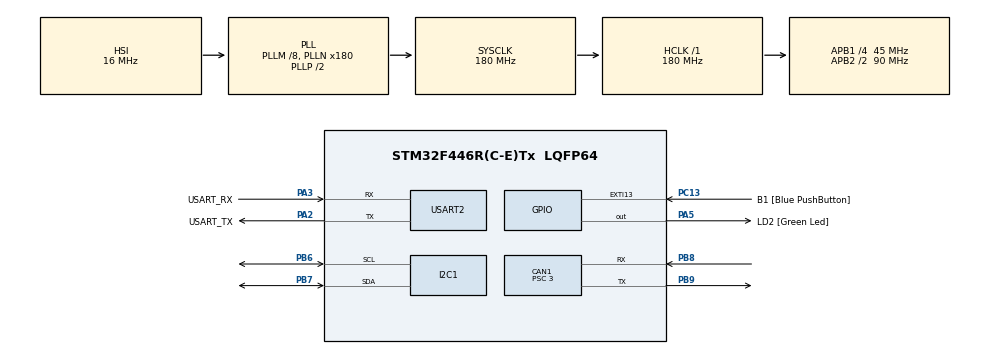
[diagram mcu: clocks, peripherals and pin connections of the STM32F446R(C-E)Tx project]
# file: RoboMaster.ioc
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CAN1.BS1=CAN_BS1_11TQ
CAN1.BS2=CAN_BS2_3TQ
CAN1.CalculateBaudRate=1000000
CAN1.CalculateTimeBit=1000
CAN1.CalculateTimeQuantum=66.66666666666666
CAN1.Prescaler=3
I2C1.OwnAddress=8
Mcu.Family=STM32F4
Mcu.Name=STM32F446R(C-E)Tx
Mcu.Package=LQFP64
NVIC.CAN1_RX0_IRQn=true\:0\:0\:false\:false\:true\:true\:true\:true
NVIC.PriorityGroup=NVIC_PRIORITYGROUP_0
PA13.GPIO_Label=TMS
PA13.Mode=Serial_Wire
PA13.Signal=SYS_JTMS-SWDIO
PA14.GPIO_Label=TCK
PA14.Mode=Serial_Wire
PA14.Signal=SYS_JTCK-SWCLK
PA2.GPIO_Label=USART_TX
PA2.Mode=Asynchronous
PA2.Signal=USART2_TX
PA3.GPIO_Label=USART_RX
PA3.Mode=Asynchronous
PA3.Signal=USART2_RX
PA5.GPIO_Label=LD2 [Green Led]
PA5.Signal=GPIO_Output
PB3.GPIO_Label=SWO
PB3.Signal=SYS_JTDO-SWO
PB6.Mode=I2C
PB6.Signal=I2C1_SCL
PB7.Mode=I2C
PB7.Signal=I2C1_SDA
PB8.Mode=CAN_Activate
PB8.Signal=CAN1_RX
PB9.Mode=CAN_Activate
PB9.Signal=CAN1_TX
PC13.GPIO_Label=B1 [Blue PushButton]
PC13.GPIO_ModeDefaultEXTI=GPIO_MODE_IT_FALLING
PC13.Signal=GPXTI13
PC14-OSC32_IN.Mode=LSE-External-Oscillator
PC14-OSC32_IN.Signal=RCC_OSC32_IN
PC15-OSC32_OUT.Mode=LSE-External-Oscillator
PC15-OSC32_OUT.Signal=RCC_OSC32_OUT
PH0-OSC_IN.Mode=HSE-External-Oscillator
PH0-OSC_IN.Signal=RCC_OSC_IN
PH1-OSC_OUT.Mode=HSE-External-Oscillator
PH1-OSC_OUT.Signal=RCC_OSC_OUT
ProjectManager.HeapSize=0x200
ProjectManager.StackSize=0x400
ProjectManager.TargetToolchain=STM32CubeIDE
RCC.48MHZClocksFreq_Value=84000000
RCC.AHBFreq_Value=180000000
RCC.APB1CLKDivider=RCC_HCLK_DIV4
RCC.APB1Freq_Value=45000000
RCC.APB1TimFreq_Value=90000000
RCC.APB2CLKDivider=RCC_HCLK_DIV2
RCC.APB2Freq_Value=90000000
RCC.APB2TimFreq_Value=180000000
RCC.CortexFreq_Value=180000000
RCC.FLatency-AdvancedSettings=FLASH_LATENCY_5
RCC.HCLKFreq_Value=180000000
RCC.HSE_VALUE=8000000
RCC.HSI_VALUE=16000000
RCC.PLLM=8
RCC.PLLN=180
RCC.SYSCLKFreq_VALUE=180000000
RCC.SYSCLKSource=RCC_SYSCLKSOURCE_PLLCLK
RCC.USBFreq_Value=180000000
RCC.VCOOutputFreq_Value=360000000
USART2.VirtualMode=VM_ASYNC
board=NUCLEO-F446RE

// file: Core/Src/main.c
/* USER CODE BEGIN Header */
/**
  ******************************************************************************
  * @file           : main.c
  * @brief          : Main program body
  ******************************************************************************
  * @attention
  *
  * Copyright (c) 2025 STMicroelectronics.
  * All rights reserved.
  *
  * This software is licensed under terms that can be found in the LICENSE file
  * in the root directory of this software component.
  * If no LICENSE file comes with this software, it is provided AS-IS.
  *
  ******************************************************************************
  */
/* USER CODE END Header */
#include "main.h"

/* USER CODE BEGIN Includes */
#include <stdio.h>
#include <stdlib.h>
#include <string.h>
/* USER CODE END Includes */

CAN_HandleTypeDef hcan1;

I2C_HandleTypeDef hi2c1;

UART_HandleTypeDef huart2;

void SystemClock_Config(void);
static void MX_GPIO_Init(void);
static void MX_USART2_UART_Init(void);
static void MX_CAN1_Init(void);
static void MX_I2C1_Init(void);
/* USER CODE BEGIN PFP */
void HAL_CAN_RxFifo0MsgPendingCallback(CAN_HandleTypeDef *hcan);
/* USER CODE END PFP */

/* USER CODE BEGIN 0 */
CAN_TxHeaderTypeDef TxHeader;
uint8_t TxData[8] = {};
uint8_t TxData2[8] = {};
uint32_t TxMailbox;
char i2c[256] = {};
float v1;
float v2;
float v3;
float v4;
char *part;
uint8_t count = 0;

CAN_RxHeaderTypeDef   RxHeader;
uint8_t RxData[8] = {};

typedef struct PID
{
	float p_gain;
	float i_gain;
	float d_gain;
	float delta_time;
	float err;
	float pre_err;
	float d_err;
	float i_err;
	float pid;
	int16_t rpm;
}PID;

int16_t pid_calculator(PID *pid, float value, int16_t rpm)
{
    pid->err  = value - pid->rpm;
    pid->i_err += pid->err * pid->delta_time;
    pid->d_err = (pid->err - pid->pre_err) / pid->delta_time;
    pid->pid  = pid->p_gain * pid->err + pid->i_gain * pid->i_err + pid->d_gain * pid->d_err;
    pid->pre_err = pid->err;

    int16_t out_current = (int16_t)pid->pid * 10000 / 13000;

	return out_current;
}

PID pid1 = {1.0, 0.0, 0.03, 0.02, 0, 0, 0, 0, 0, 0};
PID pid2 = {1.0, 0.0, 0.03, 0.02, 0, 0, 0, 0, 0, 0};
PID pid3 = {1.0, 0.0, 0.03, 0.02, 0, 0, 0, 0, 0, 0};
PID pid4 = {1.0, 0.0, 0.03, 0.02, 0, 0, 0, 0, 0, 0};

/* USER CODE END 0 */

int main(void)
{

  /* USER CODE BEGIN 1 */
	setbuf(stdout, NULL);
  /* USER CODE END 1 */

  /* MCU Configuration--------------------------------------------------------*/

  /* Reset of all peripherals, Initializes the Flash interface and the Systick. */
  HAL_Init();

  /* Configure the system clock */
  SystemClock_Config();

  /* Initialize all configured peripherals */
  MX_GPIO_Init();
  MX_USART2_UART_Init();
  MX_CAN1_Init();
  MX_I2C1_Init();
  /* USER CODE BEGIN 2 */
  HAL_CAN_Start(&hcan1);
  HAL_CAN_ActivateNotification(&hcan1, CAN_IT_RX_FIFO0_MSG_PENDING);
  /* USER CODE END 2 */

  /* Infinite loop */
  while (1)
  {

    /* USER CODE BEGIN 3 */
	    TxHeader.StdId = 0x200;
		TxHeader.RTR = CAN_RTR_DATA;
		TxHeader.IDE = CAN_ID_STD;
		TxHeader.DLC = 8;
		TxHeader.TransmitGlobalTime = DISABLE;

	    HAL_I2C_Slave_Receive(&hi2c1, (uint8_t*)i2c, 256, 1000);

	    part = strtok(i2c,",");
	    v1 = atof(part);
	    v1 = (v1 - 1) * -3000;

	    while(part != NULL)
	    {
	    	part = strtok(NULL,",");

	    	if(part != NULL)
	    	{
	    	    switch(count)
	    	    {
	    	    	case 0:
	    	    	v2 = atof(part);
	    	    	v2 = (v2 - 1) * 3000;
	    	    	count++;
	    	    	break;
	    	    	case 1:
	    	    	v3 = atof(part);
	    	    	v3 = (v3 - 1) * 13000;
	    	    	count++;
	    	    	break;
	    	    	case 2:
	    	    	v4 = atof(part);
	    	    	v4 = (v4 - 1) * 10000;
	    	    	count = 0;
	    	    	break;

	    	    }
	    	}
	    }

//	    printf("%lf", v1);
//	    printf(",");
//	    printf("%lf", v2);
//	    printf(",");
//	    printf("%lf", v3);
//	    printf(",");
//	    printf("%lf\r\n", v4);

	    int16_t w1 = pid_calculator(&pid1, v1, pid1.rpm);
	    int16_t w2 = pid_calculator(&pid2, v2, pid2.rpm);
	    int16_t m1 = pid_calculator(&pid3, v3, pid3.rpm);
	    int16_t m2 = v4;

	    TxData[0] = (w1>> 8) & 0xFF;//上位バイト
        TxData[1] = w1 & 0xFF;//下位バイト
	    TxData[2] = (w2 >> 8) & 0xFF;//上位バイト
        TxData[3] = w2 & 0xFF;//下位バイト
	    TxData[4] = (m1 >> 8) & 0xFF;//上位バイト
        TxData[5] = m1 & 0xFF;//下位バイト
	    TxData[6] = (m2 >> 8) & 0xFF;//上位バイト
        TxData[7] = m2 & 0xFF;//下位バイト

		if(HAL_CAN_GetTxMailboxesFreeLevel(&hcan1) > 0)
		{
			HAL_CAN_AddTxMessage(&hcan1, &TxHeader, TxData, &TxMailbox);
		}

		for(int i = 0; i < 256; i++)
		{
			i2c[i] = 0;
		}

	    HAL_Delay(20);
  }
  /* USER CODE END 3 */
}
void HAL_CAN_RxFifo0MsgPendingCallback(CAN_HandleTypeDef *hcan)
{
    if (HAL_CAN_GetRxMessage(&hcan1, CAN_RX_FIFO0, &RxHeader, RxData) == HAL_OK)
    {
    	int id = RxHeader.StdId;
    	if (id == 0x201){
            pid1.rpm = RxData[2] << 8 | RxData[3];
    	}
    	if(id == 0x202)
    	{
    		pid2.rpm = RxData[2] << 8 | RxData[3];
    	}
    	if(id == 0x203)
    	{
    		pid3.rpm = RxData[2] << 8 | RxData[3];
    	}
    }
}
void SystemClock_Config(void)
{
  RCC_OscInitTypeDef RCC_OscInitStruct = {0};
  RCC_ClkInitTypeDef RCC_ClkInitStruct = {0};

  /** Configure the main internal regulator output voltage
  */
  __HAL_RCC_PWR_CLK_ENABLE();
  __HAL_PWR_VOLTAGESCALING_CONFIG(PWR_REGULATOR_VOLTAGE_SCALE1);

  /** Initializes the RCC Oscillators according to the specified parameters
  * in the RCC_OscInitTypeDef structure.
  */
  RCC_OscInitStruct.OscillatorType = RCC_OSCILLATORTYPE_HSI;
  RCC_OscInitStruct.HSIState = RCC_HSI_ON;
  RCC_OscInitStruct.HSICalibrationValue = RCC_HSICALIBRATION_DEFAULT;
  RCC_OscInitStruct.PLL.PLLState = RCC_PLL_ON;
  RCC_OscInitStruct.PLL.PLLSource = RCC_PLLSOURCE_HSI;
  RCC_OscInitStruct.PLL.PLLM = 8;
  RCC_OscInitStruct.PLL.PLLN = 180;
  RCC_OscInitStruct.PLL.PLLP = RCC_PLLP_DIV2;
  RCC_OscInitStruct.PLL.PLLQ = 2;
  RCC_OscInitStruct.PLL.PLLR = 2;
  if (HAL_RCC_OscConfig(&RCC_OscInitStruct) != HAL_OK)
  {
    Error_Handler();
  }

  /** Activate the Over-Drive mode
  */
  if (HAL_PWREx_EnableOverDrive() != HAL_OK)
  {
    Error_Handler();
  }

  /** Initializes the CPU, AHB and APB buses clocks
  */
  RCC_ClkInitStruct.ClockType = RCC_CLOCKTYPE_HCLK|RCC_CLOCKTYPE_SYSCLK
                              |RCC_CLOCKTYPE_PCLK1|RCC_CLOCKTYPE_PCLK2;
  RCC_ClkInitStruct.SYSCLKSource = RCC_SYSCLKSOURCE_PLLCLK;
  RCC_ClkInitStruct.AHBCLKDivider = RCC_SYSCLK_DIV1;
  RCC_ClkInitStruct.APB1CLKDivider = RCC_HCLK_DIV4;
  RCC_ClkInitStruct.APB2CLKDivider = RCC_HCLK_DIV2;

  if (HAL_RCC_ClockConfig(&RCC_ClkInitStruct, FLASH_LATENCY_5) != HAL_OK)
  {
    Error_Handler();
  }
}

static void MX_CAN1_Init(void)
{

  hcan1.Instance = CAN1;
  hcan1.Init.Prescaler = 3;
  hcan1.Init.Mode = CAN_MODE_NORMAL;
  hcan1.Init.SyncJumpWidth = CAN_SJW_1TQ;
  hcan1.Init.TimeSeg1 = CAN_BS1_11TQ;
  hcan1.Init.TimeSeg2 = CAN_BS2_3TQ;
  hcan1.Init.TimeTriggeredMode = DISABLE;
  hcan1.Init.AutoBusOff = DISABLE;
  hcan1.Init.AutoWakeUp = DISABLE;
  hcan1.Init.AutoRetransmission = DISABLE;
  hcan1.Init.ReceiveFifoLocked = DISABLE;
  hcan1.Init.TransmitFifoPriority = DISABLE;
  if (HAL_CAN_Init(&hcan1) != HAL_OK)
  {
    Error_Handler();
  }
  /* USER CODE BEGIN CAN1_Init 2 */
  CAN_FilterTypeDef filter;
  filter.FilterIdHigh = 0x201<<5;
  filter.FilterIdLow = 0x202<<5;
  filter.FilterMaskIdHigh = 0x203<<5;
  filter.FilterMaskIdLow = 0x204<<5;
  filter.FilterScale          = CAN_FILTERSCALE_16BIT; // 16モード
  filter.FilterFIFOAssignment = CAN_FILTER_FIFO0;      // FIFO0へ格納
  filter.FilterBank           = 0;
  filter.FilterMode           = CAN_FILTERMODE_IDLIST; // IDリストモード
  filter.SlaveStartFilterBank = 14;
  filter.FilterActivation     = ENABLE;

  HAL_CAN_ConfigFilter(&hcan1, &filter);

  /* USER CODE END CAN1_Init 2 */

}

static void MX_I2C1_Init(void)
{

  hi2c1.Instance = I2C1;
  hi2c1.Init.ClockSpeed = 100000;
  hi2c1.Init.DutyCycle = I2C_DUTYCYCLE_2;
  hi2c1.Init.OwnAddress1 = 16;
  hi2c1.Init.AddressingMode = I2C_ADDRESSINGMODE_7BIT;
  hi2c1.Init.DualAddressMode = I2C_DUALADDRESS_DISABLE;
  hi2c1.Init.OwnAddress2 = 0;
  hi2c1.Init.GeneralCallMode = I2C_GENERALCALL_DISABLE;
  hi2c1.Init.NoStretchMode = I2C_NOSTRETCH_DISABLE;
  if (HAL_I2C_Init(&hi2c1) != HAL_OK)
  {
    Error_Handler();
  }

}

static void MX_USART2_UART_Init(void)
{

  huart2.Instance = USART2;
  huart2.Init.BaudRate = 115200;
  huart2.Init.WordLength = UART_WORDLENGTH_8B;
  huart2.Init.StopBits = UART_STOPBITS_1;
  huart2.Init.Parity = UART_PARITY_NONE;
  huart2.Init.Mode = UART_MODE_TX_RX;
  huart2.Init.HwFlowCtl = UART_HWCONTROL_NONE;
  huart2.Init.OverSampling = UART_OVERSAMPLING_16;
  if (HAL_UART_Init(&huart2) != HAL_OK)
  {
    Error_Handler();
  }

}

static void MX_GPIO_Init(void)
{
  GPIO_InitTypeDef GPIO_InitStruct = {0};

  /* GPIO Ports Clock Enable */
  __HAL_RCC_GPIOC_CLK_ENABLE();
  __HAL_RCC_GPIOH_CLK_ENABLE();
  __HAL_RCC_GPIOA_CLK_ENABLE();
  __HAL_RCC_GPIOB_CLK_ENABLE();

  /*Configure GPIO pin Output Level */
  HAL_GPIO_WritePin(LD2_GPIO_Port, LD2_Pin, GPIO_PIN_RESET);

  /*Configure GPIO pin : B1_Pin */
  GPIO_InitStruct.Pin = B1_Pin;
  GPIO_InitStruct.Mode = GPIO_MODE_IT_FALLING;
  GPIO_InitStruct.Pull = GPIO_NOPULL;
  HAL_GPIO_Init(B1_GPIO_Port, &GPIO_InitStruct);

  /*Configure GPIO pin : LD2_Pin */
  GPIO_InitStruct.Pin = LD2_Pin;
  GPIO_InitStruct.Mode = GPIO_MODE_OUTPUT_PP;
  GPIO_InitStruct.Pull = GPIO_NOPULL;
  GPIO_InitStruct.Speed = GPIO_SPEED_FREQ_LOW;
  HAL_GPIO_Init(LD2_GPIO_Port, &GPIO_InitStruct);

}

/* USER CODE BEGIN 4 */
int _write(int file, char *ptr, int len)
{
  HAL_UART_Transmit(&huart2,(uint8_t *)ptr,len,10);
  return len;
}
/* USER CODE END 4 */

void Error_Handler(void)
{
  __disable_irq();
  while (1)
  {
  }
}
